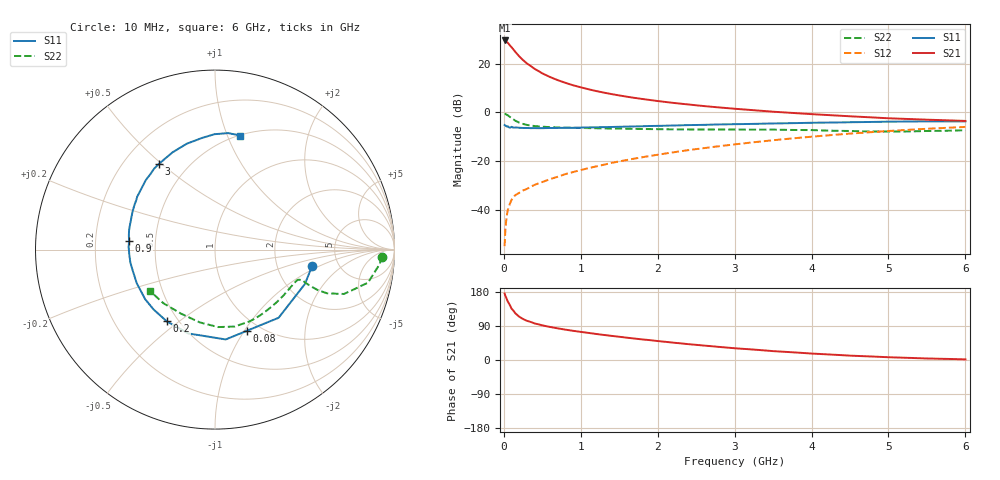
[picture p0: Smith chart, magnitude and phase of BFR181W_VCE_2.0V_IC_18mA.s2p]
! (c) 2017  Infineon Technologies AG, Munich
! Infineon Technologies  Discrete & RF Semiconductors
! BFR181W
! VCE =  2.0 V,  IC =  18 mA
! Common Emitter S-Parameters:  Jan 2017
# GHz  S  MA  R  50
!  f  S11  S21  S12  S22
! GHz  MAG  ANG  MAG  ANG  MAG  ANG  MAG  ANG
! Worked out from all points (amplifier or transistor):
!   77 points, 10 MHz to 6 GHz, reference 50 ohm
!   highest |S21| = 29.5 dB at 10 MHz (marker M1)
!   |S21| within 3 dB of that: start of sweep to 106.5 MHz
!   unconditionally stable (mu >= 1): 385.1 MHz to 2.865 GHz
!   at 130 MHz: K = 0.52, MSG = 30.1 dB, |S12| = -34.7 dB
!   at 2.2 GHz: K = 1.11, MAG = 8.1 dB, |S12| = -16.4 dB
!   at 6 GHz: K = 0.96, MSG = 1.2 dB, |S12| = -6.0 dB
!   S11 on the Smith chart (normalised r, x): 10 MHz: 3.21, -0.82; 80 MHz: 0.87, -1.03; 200 MHz: 0.43, -0.45; 900 MHz: 0.35, +0.04; 3 GHz: 0.35, +0.49; 6 GHz: 0.50, +1.11
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0.01  0.5492 -9.3  29.73 175.4  0.0018 90.7  0.9305 -2.4
0.02  0.5365 -20.9  29.1 169.3  0.004 87.8  0.9213 -5.0
0.05  0.5195 -47.0  26.87 154.7  0.0098 71.9  0.8723 -12.2
0.08  0.4859 -68.6  23.42 144.2  0.0135 64.1  0.8032 -16.1
0.1  0.5041 -83.2  21.67 135.5  0.016 60.9  0.7594 -19.0
0.15  0.4903 -107.7  17.3 123.1  0.0201 57.4  0.6707 -21.3
0.2  0.4817 -123.9  14.04 114.3  0.0223 55.8  0.6136 -21.5
0.25  0.4778 -135.7  11.76 108.1  0.025 55.9  0.5767 -21.0
0.3  0.4773 -144.5  10.04 103.4  0.0269 57.3  0.5507 -20.5
0.4  0.4745 -156.7  7.771 96.5  0.0326 60.2  0.5224 -19.6
0.5  0.473 -165.4  6.291 91.4  0.0371 63.3  0.507 -19.5
0.6  0.4771 -171.5  5.295 87.2  0.0427 65.6  0.4969 -19.7
0.7  0.4784 -176.8  4.568 83.5  0.0477 68.4  0.4903 -20.2
0.9  0.4814 174.3  3.586 77.0  0.0595 71.2  0.481 -22.3
1.1  0.4906 167.4  2.97 71.5  0.0715 73.4  0.4743 -24.8
1.5  0.5049 155.7  2.216 61.3  0.0986 75.4  0.4621 -31.2
2.1  0.5311 141.1  1.631 48.0  0.1429 74.7  0.4489 -43.4
3  0.5709 123.0  1.183 31.0  0.2197 69.9  0.4437 -64.4
3.1  0.5737 121.1  1.151 29.6  0.2291 69.0  0.4421 -66.6
4.1  0.6126 103.3  0.899 16.0  0.3257 59.8  0.4265 -90.4
5.1  0.6443 88.9  0.745 6.7  0.4227 48.2  0.4035 -121.0
6  0.6511 77.5  0.666 1.7  0.5016 37.1  0.4293 -147.4
